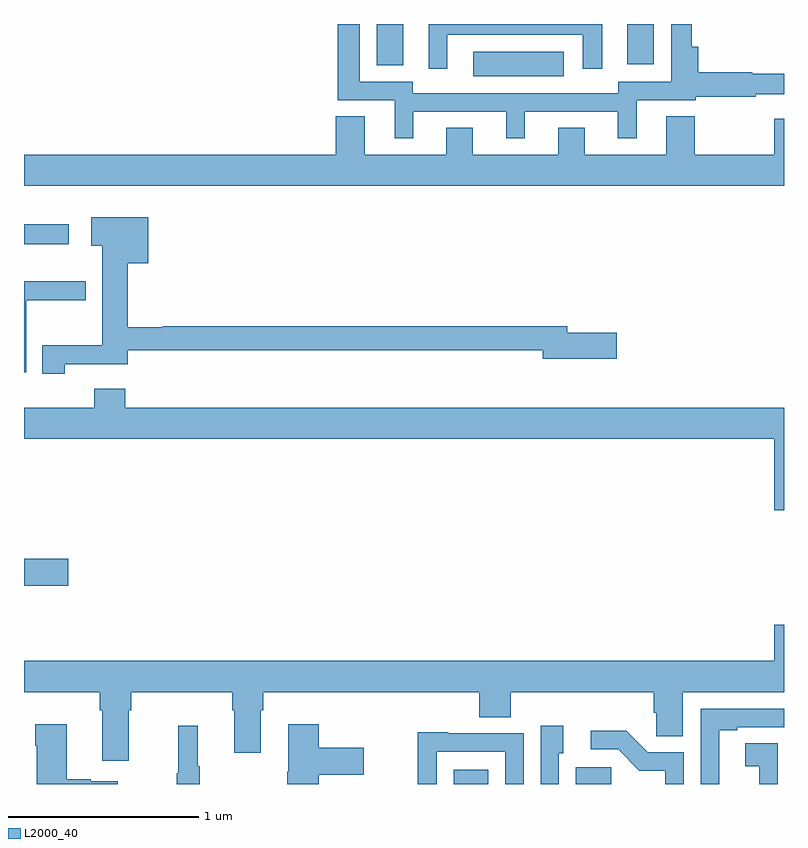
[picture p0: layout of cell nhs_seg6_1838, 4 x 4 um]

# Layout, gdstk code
import gdstk
lib = gdstk.Library(unit=1e-6, precision=1e-09)
def R(c, l, rs):  # rectangles x0, y0, x1, y1
    for r in rs: c.add(gdstk.rectangle(r[:2], r[2:], *l))
def P(c, l, *ps):  # polygons
    for p in ps: c.add(gdstk.Polygon(p, *l))
L2000_40 = (2000, 40)

nhs_seg6_1838 = lib.new_cell('nhs_seg6_1838')
R(nhs_seg6_1838, L2000_40, [(223.262,965.5,223.444,965.575), (223.904,965.5,224.091,965.589), (221,966.544,221.233,966.686), (221,968.342,221.236,968.446), (223.365,969.224,223.84,969.355), (222.857,969.282,222.997,969.5), (224.174,969.288,224.314,969.5)])
P(nhs_seg6_1838, L2000_40, [(223.228,969.443),(223.94,969.443),(223.94,969.264),(224.044,969.264),(224.044,969.5),(223.13,969.5),(223.13,969.264),(223.228,969.264)],
  [(223.048,969.039),(223.538,969.039),(223.538,968.898),(223.636,968.898),(223.636,969.039),(224.126,969.039),(224.126,968.898),(224.224,968.898),(224.224,969.099),(224.536,969.099),(224.536,969.117),(224.852,969.117),(224.852,969.129),(225,969.129),(225,969.238),(224.832,969.238),(224.832,969.245),(224.549,969.245),(224.549,969.379),(224.515,969.379),(224.515,969.5),(224.406,969.5),(224.406,969.195),(224.127,969.195),(224.127,969.135),(223.047,969.135),(223.047,969.195),(222.768,969.195),(222.768,969.5),(222.652,969.5),(222.652,969.099),(222.95,969.099),(222.95,968.898),(223.048,968.898)],
  [(225,969.001),(224.948,969.001),(224.948,968.812),(224.529,968.812),(224.529,969.014),(224.381,969.014),(224.381,968.812),(223.951,968.812),(223.951,968.954),(223.811,968.954),(223.811,968.812),(223.363,968.812),(223.363,968.954),(223.223,968.954),(223.223,968.812),(222.793,968.812),(222.793,969.014),(222.641,969.014),(222.641,968.812),(221,968.812),(221,968.648),(225,968.648)],
  [(221.214,967.709),(221.546,967.709),(221.546,967.782),(223.73,967.782),(223.73,967.739),(224.119,967.739),(224.119,967.874),(223.858,967.874),(223.858,967.91),(221.729,967.91),(221.729,967.903),(221.546,967.903),(221.546,968.24),(221.653,968.24),(221.653,968.482),(221.355,968.482),(221.355,968.333),(221.411,968.333),(221.411,967.809),(221.096,967.809),(221.096,967.659),(221.214,967.659)],
  [(221.011,968.047),(221.326,968.047),(221.326,968.147),(221,968.147),(221,967.667),(221.011,967.667)],
  [(225,967.48),(221.534,967.48),(221.534,967.579),(221.369,967.579),(221.369,967.48),(221,967.48),(221,967.316),(224.948,967.316),(224.948,966.942),(225,966.942)],
  [(221.551,965.888),(221.564,965.888),(221.564,965.984),(222.095,965.984),(222.095,965.888),(222.107,965.888),(222.107,965.664),(222.247,965.664),(222.247,965.888),(222.26,965.888),(222.26,965.984),(223.397,965.984),(223.397,965.851),(223.562,965.851),(223.562,965.984),(224.315,965.984),(224.315,965.875),(224.328,965.875),(224.328,965.752),(224.467,965.752),(224.467,965.984),(225,965.984),(225,966.337),(224.948,966.337),(224.948,966.148),(221,966.148),(221,965.984),(221.399,965.984),(221.399,965.888),(221.411,965.888),(221.411,965.622),(221.551,965.622)],
  [(224.659,965.784),(224.755,965.784),(224.755,965.799),(225,965.799),(225,965.895),(224.562,965.895),(224.562,965.5),(224.659,965.5)],
  [(222.551,965.549),(222.787,965.549),(222.787,965.691),(222.551,965.691),(222.551,965.815),(222.392,965.815),(222.392,965.565),(222.385,965.565),(222.385,965.5),(222.551,965.5)],
  [(221.494,965.515),(221.351,965.515),(221.351,965.525),(221.224,965.525),(221.224,965.815),(221.059,965.815),(221.059,965.702),(221.066,965.702),(221.066,965.5),(221.494,965.5)],
  [(223.815,965.661),(223.837,965.661),(223.837,965.806),(223.719,965.806),(223.719,965.5),(223.815,965.5)],
  [(221.926,965.593),(221.915,965.593),(221.915,965.806),(221.812,965.806),(221.812,965.556),(221.805,965.556),(221.805,965.5),(221.926,965.5)],
  [(224.472,965.667),(224.283,965.667),(224.17,965.78),(223.983,965.78),(223.983,965.682),(224.127,965.682),(224.238,965.571),(224.376,965.571),(224.376,965.5),(224.472,965.5)],
  [(223.173,965.67),(223.533,965.67),(223.533,965.5),(223.629,965.5),(223.629,965.766),(223.233,965.766),(223.233,965.773),(223.072,965.773),(223.072,965.5),(223.173,965.5)],
  [(224.968,965.603),(224.966,965.603),(224.966,965.714),(224.796,965.714),(224.796,965.593),(224.87,965.593),(224.87,965.5),(224.968,965.5)])

lib.write_gds('nhs_seg6_1838.gds')
